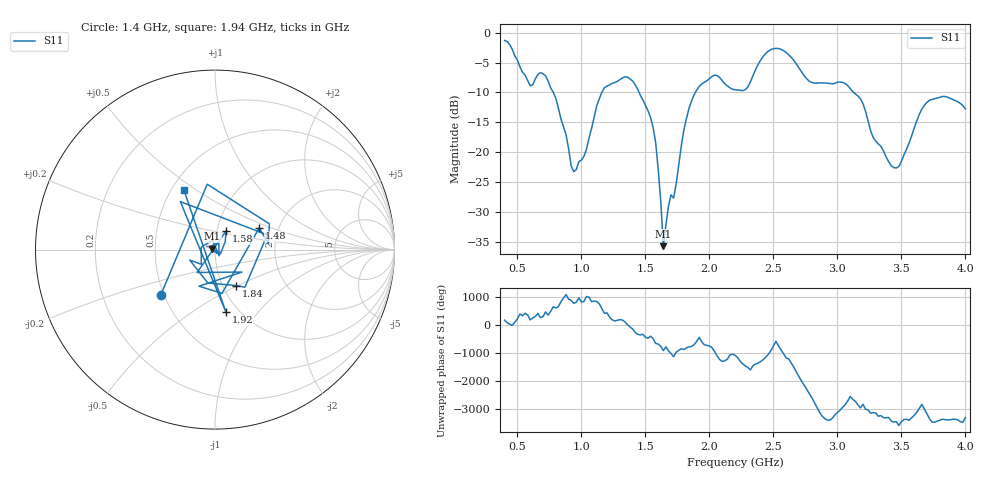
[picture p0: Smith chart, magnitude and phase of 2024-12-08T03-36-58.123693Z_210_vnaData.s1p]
!Created with skrf (http://scikit-rf.org).
# Hz S RI R 50.0
!freq ReS11 ImS11
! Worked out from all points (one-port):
!   181 points, 400 MHz to 4 GHz, reference 50 ohm
!   lowest |S11| = -35.7 dB at 1.64 GHz (marker M1), VSWR 1.03, Z = 48.5 + j0.528 ohm
!   |S11| at or under -10 dB: 780.8 MHz to 1.159 GHz (378.7 MHz wide, 39 % of centre); 1.451 GHz to 1.89 GHz (439.7 MHz wide, 26.3 % of centre); 3.127 GHz to end of sweep
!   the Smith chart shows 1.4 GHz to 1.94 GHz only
!   S11 on the Smith chart (normalised r, x): 1.4 GHz: 0.48, -0.29; 1.48 GHz: 1.59, +0.41; 1.58 GHz: 1.11, +0.23; 1.84 GHz: 1.15, -0.49; 1.92 GHz: 0.87, -0.70; 1.94 GHz: 0.58, +0.44
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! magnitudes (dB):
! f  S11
! 400 MHz  -1.3
! 600 MHz  -8.9
! 720 MHz  -7.2
! 860 MHz  -15.7
! 920 MHz  -22.3
! 960 MHz  -22.9
! 1.16 GHz  -10.0
! 1.3 GHz  -7.9
! 1.4 GHz  -8.1
! 1.48 GHz  -11.2
! 1.58 GHz  -18.4
! 1.64 GHz  -35.7
! 1.68 GHz  -29.1
! 1.72 GHz  -27.7
! 1.76 GHz  -22.2
! 1.84 GHz  -12.7
! 1.92 GHz  -9.0
! 1.94 GHz  -8.6
! 2.2 GHz  -9.5
! 2.3 GHz  -9.1
! 2.48 GHz  -2.8
! 2.66 GHz  -4.7
! 2.8 GHz  -8.3
! 3.1 GHz  -9.3
! 3.42 GHz  -22.2
! 3.56 GHz  -18.4
! 3.72 GHz  -11.3
! 4 GHz  -12.8
